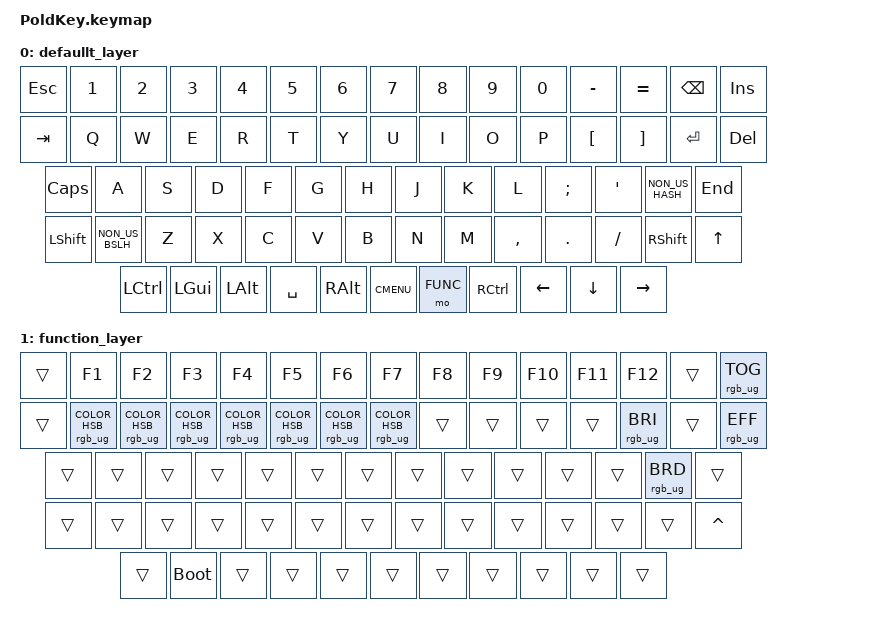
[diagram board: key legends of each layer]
#include <behaviors.dtsi>
#include <dt-bindings/zmk/keys.h>
#include <dt-bindings/zmk/rgb.h>

#define DEFAULT 0
#define FUNC    1

#define NONE 0

/ {
    keymap {
        compatible = "zmk,keymap";

        defaullt_layer {

            bindings = <
    &kp ESC  &kp N1  &kp N2  &kp N3  &kp N4  &kp N5  &kp N6  &kp N7  &kp N8  &kp N9  &kp N0 &kp MINUS  &kp EQUAL  &kp BSPC  &kp INS
    &kp TAB  &kp Q  &kp W  &kp E  &kp R  &kp T  &kp Y  &kp U  &kp I  &kp O  &kp P  &kp LBKT  &kp RBKT  &kp RET  &kp DEL
    &kp CLCK  &kp A  &kp S  &kp D  &kp F  &kp G  &kp H  &kp J  &kp K  &kp L  &kp SEMI  &kp SQT  &kp NON_US_HASH  &kp END
    &kp LSHFT  &kp NON_US_BSLH  &kp Z  &kp X  &kp C  &kp V  &kp B  &kp N  &kp M  &kp COMMA  &kp DOT  &kp FSLH  &kp RSHFT  &kp UP
    &kp LCTRL  &kp LGUI  &kp LALT  &kp SPACE  &kp RALT  &kp K_CMENU  &mo FUNC  &kp RCTRL  &kp LEFT  &kp DOWN  &kp RIGHT
            >;
        };

        function_layer {

            bindings = <
    &trans  &kp F1  &kp F2  &kp F3  &kp F4  &kp F5  &kp F6  &kp F7  &kp F8  &kp F9  &kp F10  &kp F11  &kp F12  &trans  &rgb_ug RGB_TOG 
    &trans  &rgb_ug RGB_COLOR_HSB(0,100,20)  &rgb_ug RGB_COLOR_HSB(27,100,20)  &rgb_ug RGB_COLOR_HSB(128,100,20)  &rgb_ug RGB_COLOR_HSB(177,100,20)  &rgb_ug RGB_COLOR_HSB(229,100,20)  &rgb_ug RGB_COLOR_HSB(286,100,20)  &rgb_ug RGB_COLOR_HSB(0,0,20)  &trans  &trans  &trans  &trans  &rgb_ug RGB_BRI   &trans  &rgb_ug RGB_EFF  
    &trans  &trans  &trans  &trans  &trans  &trans  &trans  &trans  &trans  &trans  &trans  &trans  &rgb_ug RGB_BRD  &trans  
    &trans  &trans  &trans  &trans  &trans  &trans  &trans  &trans  &trans  &trans  &trans  &trans  &trans  &kp CARET 
    &trans  &bootloader  &trans  &trans  &trans  &trans  &trans  &trans  &trans  &trans  &trans  
            >;
        };
    };
};
